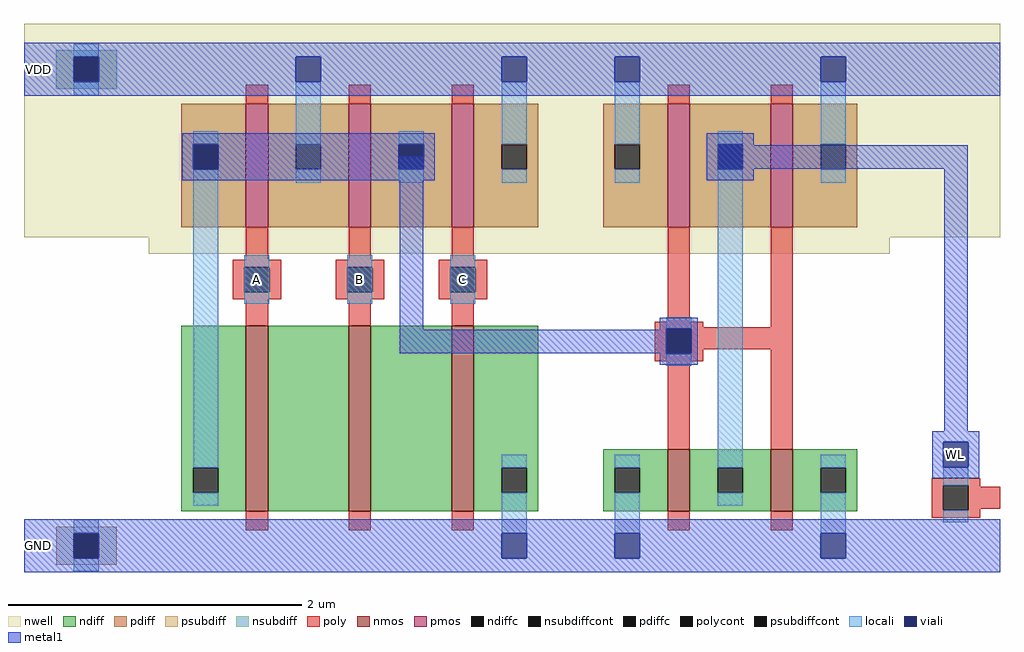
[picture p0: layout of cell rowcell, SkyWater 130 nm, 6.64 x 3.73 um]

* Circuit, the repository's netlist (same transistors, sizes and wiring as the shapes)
* NGSPICE file created from rowcell.ext - technology: sky130A

.subckt nand3 A B C Y VDD GND w_0_397# VSUBS
X0 a_302_47# B a_162_47# VSUBS sky130_fd_pr__nfet_01v8 ad=0.3465 pd=1.81 as=0.3465 ps=1.81 w=1.26 l=0.15
X1 VDD C Y w_0_397# sky130_fd_pr__pfet_01v8 ad=0.3696 pd=2.56 as=0.231 ps=1.39 w=0.84 l=0.15
X2 Y B VDD w_0_397# sky130_fd_pr__pfet_01v8 ad=0.231 pd=1.39 as=0.231 ps=1.39 w=0.84 l=0.15
X3 VDD A Y w_0_397# sky130_fd_pr__pfet_01v8 ad=0.231 pd=1.39 as=0.3696 ps=2.56 w=0.84 l=0.15
X4 GND C a_302_47# VSUBS sky130_fd_pr__nfet_01v8 ad=0.5544 pd=3.4 as=0.3465 ps=1.81 w=1.26 l=0.15
X5 a_162_47# A Y VSUBS sky130_fd_pr__nfet_01v8 ad=0.3465 pd=1.81 as=0.5544 ps=3.4 w=1.26 l=0.15
.ends

.subckt wldrv A Y VDD GND w_0_397# VSUBS
X0 GND A Y VSUBS sky130_fd_pr__nfet_01v8 ad=0.1848 pd=1.72 as=0.1155 ps=0.97 w=0.42 l=0.15
X1 VDD A Y w_0_397# sky130_fd_pr__pfet_01v8 ad=0.3696 pd=2.56 as=0.231 ps=1.39 w=0.84 l=0.15
X2 Y A VDD w_0_397# sky130_fd_pr__pfet_01v8 ad=0.231 pd=1.39 as=0.3696 ps=2.56 w=0.84 l=0.15
X3 Y A GND VSUBS sky130_fd_pr__nfet_01v8 ad=0.1155 pd=0.97 as=0.1848 ps=1.72 w=0.42 l=0.15
.ends

.subckt rowslice A B C WL VDD GND
Xn3 A B C wd/A VDD GND VDD GND nand3
Xwd wd/A WL VDD GND VDD GND wldrv
.ends

.subckt rowcell A B C WL VDD GND
Xs A B C WL VDD GND rowslice
.ends

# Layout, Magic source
magic
tech sky130A
magscale 1 2
<< nwell >>
rect 1178 420 1328 710
<< poly >>
rect 1235 82 1301 92
rect 1235 48 1251 82
rect 1285 80 1301 82
rect 1285 50 1328 80
rect 1285 48 1301 50
rect 1235 38 1301 48
<< polycont >>
rect 1251 48 1285 82
<< locali >>
rect 300 345 334 379
rect 440 345 474 379
rect 580 345 614 379
rect 1251 141 1285 142
rect 1251 82 1285 107
rect 1251 32 1285 48
<< viali >>
rect 1251 107 1285 141
<< metal1 >>
rect 3 631 37 665
rect 1178 612 1328 684
rect 961 513 1284 545
rect 1252 156 1284 513
rect 1236 141 1300 156
rect 1236 107 1251 141
rect 1285 107 1300 141
rect 1236 92 1300 107
rect 3 -17 37 17
rect 1178 -36 1328 36
use rowslice  s
transform 1 0 0 0 1 0
box 0 -36 1178 710
<< labels >>
rlabel locali 317 362 317 362 0 A
port 1 nsew
rlabel locali 457 362 457 362 0 B
port 2 nsew
rlabel locali 597 362 597 362 0 C
port 3 nsew
rlabel viali 1268 124 1268 124 0 WL
port 4 nsew
rlabel metal1 20 648 20 648 0 VDD
port 5 nsew
rlabel metal1 20 0 20 0 0 GND
port 6 nsew
<< end >>

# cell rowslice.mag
magic
tech sky130A
magscale 1 2
<< locali >>
rect 300 345 334 379
rect 440 345 474 379
rect 580 345 614 379
<< viali >>
rect 874 261 908 295
<< metal1 >>
rect 3 631 37 665
rect 511 294 543 529
rect 944 512 978 546
rect 865 295 917 310
rect 865 294 874 295
rect 511 262 874 294
rect 865 261 874 262
rect 908 261 917 295
rect 865 246 917 261
rect 3 -17 37 17
use nand3  n3
transform 1 0 170 0 1 0
box 0 -36 574 710
use tap  t
transform 1 0 0 0 1 0
box 0 -36 170 710
use wldrv  wd
transform 1 0 744 0 1 0
box 0 -36 434 710
<< labels >>
rlabel locali 317 362 317 362 0 A
port 1 nsew
rlabel locali 457 362 457 362 0 B
port 2 nsew
rlabel locali 597 362 597 362 0 C
port 3 nsew
rlabel metal1 961 529 961 529 0 WL
port 4 nsew
rlabel metal1 20 648 20 648 0 VDD
port 5 nsew
rlabel metal1 20 0 20 0 0 GND
port 6 nsew
<< end >>

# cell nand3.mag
magic
tech sky130A
magscale 1 2
<< nwell >>
rect 0 397 574 710
<< nmos >>
rect 132 47 162 299
rect 272 47 302 299
rect 412 47 442 299
<< pmos >>
rect 132 433 162 601
rect 272 433 302 601
rect 412 433 442 601
<< ndiff >>
rect 44 106 132 299
rect 44 72 60 106
rect 94 72 132 106
rect 44 47 132 72
rect 162 47 272 299
rect 302 47 412 299
rect 442 106 530 299
rect 442 72 480 106
rect 514 72 530 106
rect 442 47 530 72
<< pdiff >>
rect 44 546 132 601
rect 44 512 60 546
rect 94 512 132 546
rect 44 433 132 512
rect 162 546 272 601
rect 162 512 200 546
rect 234 512 272 546
rect 162 433 272 512
rect 302 546 412 601
rect 302 512 340 546
rect 374 512 412 546
rect 302 433 412 512
rect 442 546 530 601
rect 442 512 480 546
rect 514 512 530 546
rect 442 433 530 512
<< ndiffc >>
rect 60 72 94 106
rect 480 72 514 106
<< pdiffc >>
rect 60 512 94 546
rect 200 512 234 546
rect 340 512 374 546
rect 480 512 514 546
<< poly >>
rect 132 601 162 627
rect 272 601 302 627
rect 412 601 442 627
rect 132 389 162 433
rect 272 389 302 433
rect 412 389 442 433
rect 114 379 180 389
rect 114 345 130 379
rect 164 345 180 379
rect 114 335 180 345
rect 254 379 320 389
rect 254 345 270 379
rect 304 345 320 379
rect 254 335 320 345
rect 394 379 460 389
rect 394 345 410 379
rect 444 345 460 379
rect 394 335 460 345
rect 132 299 162 335
rect 272 299 302 335
rect 412 299 442 335
rect 132 21 162 47
rect 272 21 302 47
rect 412 21 442 47
<< polycont >>
rect 130 345 164 379
rect 270 345 304 379
rect 410 345 444 379
<< locali >>
rect 60 546 94 564
rect 60 106 94 512
rect 200 546 234 631
rect 200 494 234 512
rect 340 546 374 564
rect 340 494 374 512
rect 480 546 514 631
rect 480 494 514 512
rect 130 379 164 395
rect 130 329 164 345
rect 270 379 304 395
rect 270 329 304 345
rect 410 379 444 395
rect 410 329 444 345
rect 60 54 94 72
rect 480 106 514 124
rect 480 17 514 72
<< viali >>
rect 200 631 234 665
rect 60 512 94 546
rect 480 631 514 665
rect 340 512 374 546
rect 480 -17 514 17
<< metal1 >>
rect 0 665 574 684
rect 0 631 200 665
rect 234 631 480 665
rect 514 631 574 665
rect 0 612 574 631
rect 45 546 389 561
rect 45 512 60 546
rect 94 512 340 546
rect 374 512 389 546
rect 45 497 389 512
rect 0 17 574 36
rect 0 -17 480 17
rect 514 -17 574 17
rect 0 -36 574 -17
<< labels >>
rlabel polycont 147 362 147 362 0 A
port 1 nsew
rlabel polycont 287 362 287 362 0 B
port 2 nsew
rlabel polycont 427 362 427 362 0 C
port 3 nsew
rlabel viali 77 529 77 529 0 Y
port 4 nsew
rlabel metal1 20 648 20 648 0 VDD
port 5 nsew
rlabel metal1 20 0 20 0 0 GND
port 6 nsew
<< end >>

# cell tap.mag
magic
tech sky130A
magscale 1 2
<< nwell >>
rect 0 420 170 710
<< psubdiff >>
rect 44 17 126 26
rect 44 -17 68 17
rect 102 -17 126 17
rect 44 -26 126 -17
<< nsubdiff >>
rect 44 665 126 674
rect 44 631 68 665
rect 102 631 126 665
rect 44 622 126 631
<< psubdiffcont >>
rect 68 -17 102 17
<< nsubdiffcont >>
rect 68 631 102 665
<< locali >>
rect 68 665 102 683
rect 68 613 102 631
rect 68 17 102 35
rect 68 -35 102 -17
<< viali >>
rect 68 631 102 665
rect 68 -17 102 17
<< metal1 >>
rect 0 665 170 684
rect 0 631 68 665
rect 102 631 170 665
rect 0 612 170 631
rect 0 17 170 36
rect 0 -17 68 17
rect 102 -17 170 17
rect 0 -36 170 -17
<< labels >>
rlabel metal1 20 648 20 648 0 VDD
port 1 nsew
rlabel metal1 20 0 20 0 0 GND
port 2 nsew
<< end >>

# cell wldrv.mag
magic
tech sky130A
magscale 1 2
<< nwell >>
rect 0 397 434 710
<< nmos >>
rect 132 47 162 131
rect 272 47 302 131
<< pmos >>
rect 132 433 162 601
rect 272 433 302 601
<< ndiff >>
rect 44 106 132 131
rect 44 72 60 106
rect 94 72 132 106
rect 44 47 132 72
rect 162 106 272 131
rect 162 72 200 106
rect 234 72 272 106
rect 162 47 272 72
rect 302 106 390 131
rect 302 72 340 106
rect 374 72 390 106
rect 302 47 390 72
<< pdiff >>
rect 44 546 132 601
rect 44 512 60 546
rect 94 512 132 546
rect 44 433 132 512
rect 162 546 272 601
rect 162 512 200 546
rect 234 512 272 546
rect 162 433 272 512
rect 302 546 390 601
rect 302 512 340 546
rect 374 512 390 546
rect 302 433 390 512
<< ndiffc >>
rect 60 72 94 106
rect 200 72 234 106
rect 340 72 374 106
<< pdiffc >>
rect 60 512 94 546
rect 200 512 234 546
rect 340 512 374 546
<< poly >>
rect 132 601 162 627
rect 272 601 302 627
rect 132 305 162 433
rect 114 297 180 305
rect 272 297 302 433
rect 114 295 302 297
rect 114 261 130 295
rect 164 267 302 295
rect 164 261 180 267
rect 114 251 180 261
rect 132 131 162 251
rect 272 131 302 267
rect 132 21 162 47
rect 272 21 302 47
<< polycont >>
rect 130 261 164 295
<< locali >>
rect 60 546 94 631
rect 60 494 94 512
rect 200 546 234 564
rect 130 295 164 311
rect 130 245 164 261
rect 60 106 94 124
rect 60 17 94 72
rect 200 106 234 512
rect 340 546 374 631
rect 340 494 374 512
rect 200 54 234 72
rect 340 106 374 124
rect 340 17 374 72
<< viali >>
rect 60 631 94 665
rect 340 631 374 665
rect 200 512 234 546
rect 60 -17 94 17
rect 340 -17 374 17
<< metal1 >>
rect 0 665 434 684
rect 0 631 60 665
rect 94 631 340 665
rect 374 631 434 665
rect 0 612 434 631
rect 185 546 249 561
rect 185 512 200 546
rect 234 512 249 546
rect 185 497 249 512
rect 0 17 434 36
rect 0 -17 60 17
rect 94 -17 340 17
rect 374 -17 434 17
rect 0 -36 434 -17
<< labels >>
rlabel polycont 147 278 147 278 0 A
port 1 nsew
rlabel viali 217 529 217 529 0 Y
port 2 nsew
rlabel metal1 20 648 20 648 0 VDD
port 3 nsew
rlabel metal1 20 0 20 0 0 GND
port 4 nsew
<< end >>
